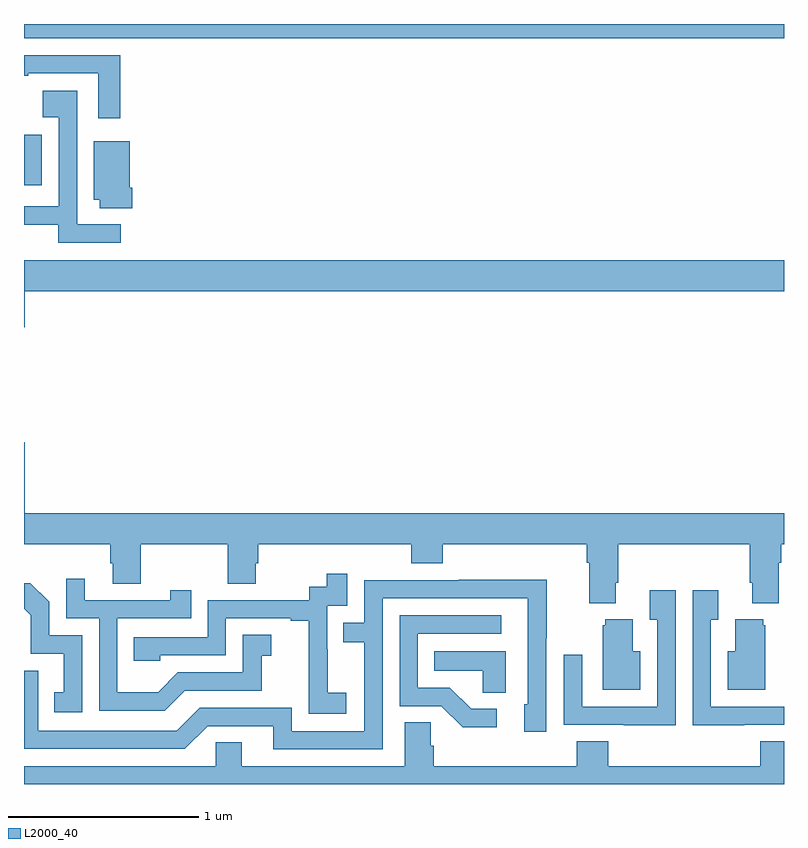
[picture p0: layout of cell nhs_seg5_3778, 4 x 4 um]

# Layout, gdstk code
import gdstk
lib = gdstk.Library(unit=1e-6, precision=1e-09)
def R(c, l, rs):  # rectangles x0, y0, x1, y1
    for r in rs: c.add(gdstk.rectangle(r[:2], r[2:], *l))
def P(c, l, *ps):  # polygons
    for p in ps: c.add(gdstk.Polygon(p, *l))
L2000_40 = (2000, 40)

nhs_seg5_3778 = lib.new_cell('nhs_seg5_3778')
R(nhs_seg5_3778, L2000_40, [(333,891.95,333.094,892.216), (333,892.724,337,892.799)])
P(nhs_seg5_3778, L2000_40, [(333.506,892.635),(333,892.635),(333,892.527),(333.022,892.527),(333.022,892.539),(333.39,892.539),(333.39,892.302),(333.506,892.302)],
  [(333.508,891.744),(333.279,891.744),(333.279,892.447),(333.099,892.447),(333.099,892.307),(333.183,892.307),(333.183,891.84),(333,891.84),(333,891.743),(333.181,891.743),(333.181,891.648),(333.508,891.648)],
  [(333.569,891.937),(333.556,891.937),(333.556,892.183),(333.368,892.183),(333.368,891.875),(333.398,891.875),(333.398,891.829),(333.569,891.829)],
  [(333.004,891.392),(337,891.392),(337,891.556),(333,891.556),(333,891.204),(333.004,891.204)],
  [(336.115,889.858),(336.128,889.858),(336.128,890.06),(336.821,890.06),(336.821,889.858),(336.833,889.858),(336.833,889.751),(336.973,889.751),(336.973,889.964),(336.986,889.964),(336.986,890.06),(337,890.06),(337,890.224),(333.004,890.224),(333.004,890.599),(333,890.599),(333,890.06),(333.455,890.06),(333.455,889.962),(333.467,889.962),(333.467,889.852),(333.615,889.852),(333.615,890.06),(334.072,890.06),(334.072,889.852),(334.219,889.852),(334.219,889.962),(334.232,889.962),(334.232,890.06),(335.039,890.06),(335.039,889.961),(335.204,889.961),(335.204,890.06),(335.963,890.06),(335.963,889.964),(335.975,889.964),(335.975,889.751),(336.115,889.751)],
  [(334.696,889.279),(334.598,889.279),(334.598,889.508),(334.596,889.508),(334.596,889.737),(334.701,889.737),(334.701,889.906),(334.593,889.906),(334.593,889.836),(334.5,889.836),(334.5,889.767),(333.966,889.767),(333.966,889.572),(333.577,889.572),(333.577,889.449),(333.717,889.449),(333.717,889.476),(334.062,889.476),(334.062,889.671),(334.403,889.671),(334.403,889.659),(334.499,889.659),(334.499,889.375),(334.498,889.375),(334.498,889.169),(334.696,889.169)],
  [(333.847,889.29),(334.251,889.29),(334.251,889.475),(334.3,889.475),(334.3,889.585),(334.152,889.585),(334.152,889.386),(333.81,889.386),(333.706,889.282),(333.492,889.282),(333.492,889.671),(333.881,889.671),(333.881,889.819),(333.77,889.819),(333.77,889.767),(333.319,889.767),(333.319,889.879),(333.222,889.879),(333.222,889.671),(333.396,889.671),(333.396,889.185),(333.742,889.185)],
  [(334.887,889.776),(335.652,889.776),(335.652,889.218),(335.633,889.218),(335.633,889.074),(335.748,889.074),(335.748,889.567),(335.751,889.567),(335.751,889.874),(335.287,889.874),(335.287,889.872),(334.791,889.872),(334.791,889.647),(334.681,889.647),(334.681,889.546),(334.791,889.546),(334.791,889.077),(334.41,889.077),(334.41,889.2),(333.924,889.2),(333.804,889.08),(333.075,889.08),(333.075,889.395),(333,889.395),(333,888.984),(333.846,888.984),(333.966,889.104),(334.313,889.104),(334.313,888.981),(334.887,888.981)],
  [(333.306,889.581),(333.132,889.581),(333.132,889.758),(333.034,889.856),(333,889.856),(333,889.722),(333.036,889.686),(333.036,889.485),(333.209,889.485),(333.209,889.281),(333.16,889.281),(333.16,889.176),(333.306,889.176)],
  [(336.791,889.11),(337,889.11),(337,889.206),(336.615,889.206),(336.615,889.663),(336.655,889.663),(336.655,889.819),(336.519,889.819),(336.519,889.109),(336.791,889.109)],
  [(336.429,889.819),(336.293,889.819),(336.293,889.663),(336.333,889.663),(336.333,889.206),(335.937,889.206),(335.937,889.48),(335.841,889.48),(335.841,889.11),(336.157,889.11),(336.157,889.109),(336.429,889.109)],
  [(335.488,889.194),(335.353,889.194),(335.242,889.305),(335.073,889.305),(335.073,889.59),(335.512,889.59),(335.512,889.686),(334.977,889.686),(334.977,889.209),(335.196,889.209),(335.309,889.097),(335.488,889.097)],
  [(336.901,889.635),(336.89,889.635),(336.89,889.666),(336.743,889.666),(336.743,889.498),(336.704,889.498),(336.704,889.295),(336.901,889.295)],
  [(336.244,889.498),(336.205,889.498),(336.205,889.666),(336.059,889.666),(336.059,889.635),(336.047,889.635),(336.047,889.295),(336.244,889.295)],
  [(335.536,889.498),(335.158,889.498),(335.158,889.394),(335.415,889.394),(335.415,889.279),(335.536,889.279)],
  [(337,889.025),(336.875,889.025),(336.875,888.892),(336.074,888.892),(336.074,889.025),(335.909,889.025),(335.909,888.892),(335.156,888.892),(335.156,889.001),(335.142,889.001),(335.142,889.124),(335.003,889.124),(335.003,888.892),(334.147,888.892),(334.147,889.019),(334.008,889.019),(334.008,888.892),(333,888.892),(333,888.799),(337,888.799)])

lib.write_gds('nhs_seg5_3778.gds')
